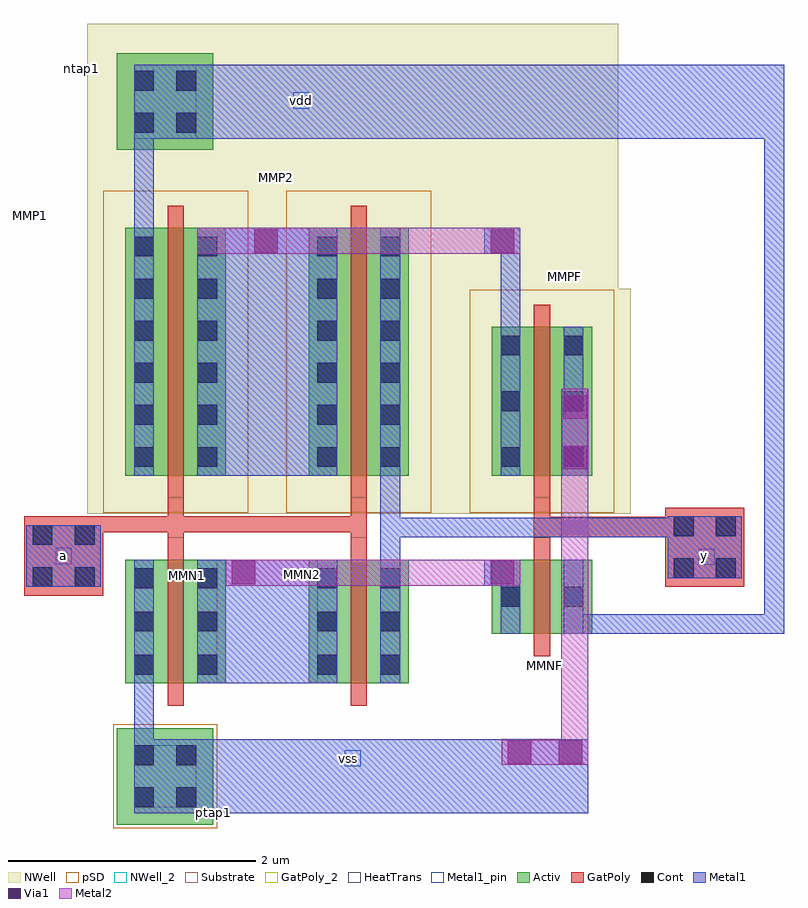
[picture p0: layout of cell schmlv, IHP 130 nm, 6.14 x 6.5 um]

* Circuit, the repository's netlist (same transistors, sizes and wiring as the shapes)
** sch_path: /foss/designs/Designs/bidir-level-shifter/xschem/logic_gates/SCHMLV.sch
.subckt SCHMLV a y vdd vss
*.PININFO vdd:B vss:B y:B a:B
MMP1 net1 a vdd vdd sg13_lv_pmos w=2.0u l=0.13u ng=1
MMP2 y a net1 vdd sg13_lv_pmos w=2.0u l=0.13u ng=1
MMN2 y a net2 vss sg13_lv_nmos w=1.0u l=0.13u ng=1
MMN1 net2 a vss vss sg13_lv_nmos w=1.0u l=0.13u ng=1
MMPF vss y net1 vdd sg13_lv_pmos w=1.2u l=0.13u ng=1
MMNF vdd y net2 vss sg13_lv_nmos w=0.6u l=0.13u ng=1
.ends

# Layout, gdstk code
import gdstk
lib = gdstk.Library(unit=1e-6, precision=1e-09)
def R(c, l, rs):  # rectangles x0, y0, x1, y1
    for r in rs: c.add(gdstk.rectangle(r[:2], r[2:], *l))
def A(c, l, x, y, w, h, nx, ny, dx, dy):  # array of equal rectangles
    R(c, l, [(x+i*dx, y+j*dy, x+i*dx+w, y+j*dy+h) for i in range(nx) for j in range(ny)])
Activ = (1, 0)
GatPoly = (5, 0)
GatPoly_2 = (5, 2)
Cont = (6, 0)
Metal1 = (8, 0)
Metal1_pin = (8, 2)
Metal2 = (10, 0)
pSD = (14, 0)
Via1 = (19, 0)
NWell = (31, 0)
NWell_2 = (31, 2)
Substrate = (40, 0)
HeatTrans = (51, 0)

nmos = lib.new_cell('nmos')
R(nmos, Activ, [(0,0,0.3,0.3), (0,0,0.81,1), (0.51,0,0.81,0.3)])
R(nmos, GatPoly, [(0.34,-0.18,0.47,1.18)])
R(nmos, GatPoly_2, [(0.34,-0.18,0.47,1.18)])
A(nmos, Cont, 0.07, 0.07, 0.16, 0.16, 1, 3, 0, 0.35)
A(nmos, Cont, 0.58, 0.07, 0.16, 0.16, 1, 3, 0, 0.35)
R(nmos, Metal1, [(0.07,0,0.23,1), (0.58,0,0.74,1)])
R(nmos, Metal1_pin, [(0.07,0,0.23,1), (0.58,0,0.74,1)])
R(nmos, HeatTrans, [(0.34,-0.18,0.47,1.18)])
nmos.add(gdstk.Label('nmos', (0.405,0.5), layer=63, texttype=0))
nmos.add(gdstk.Label('nmos', (0.405,0.5), layer=51, texttype=0))

nmos_1 = lib.new_cell('nmos$1')
R(nmos_1, Activ, [(0,0,0.3,0.3), (0,0,0.81,0.6), (0.51,0,0.81,0.3)])
R(nmos_1, GatPoly, [(0.34,-0.18,0.47,0.78)])
R(nmos_1, GatPoly_2, [(0.34,-0.18,0.47,0.78)])
R(nmos_1, Cont, [(0.07,0.22,0.23,0.38), (0.58,0.22,0.74,0.38)])
R(nmos_1, Metal1, [(0.07,0,0.23,0.6), (0.58,0,0.74,0.6)])
R(nmos_1, Metal1_pin, [(0.07,0,0.23,0.6), (0.58,0,0.74,0.6)])
R(nmos_1, HeatTrans, [(0.34,-0.18,0.47,0.78)])
nmos_1.add(gdstk.Label('nmos', (0.405,0.3), layer=63, texttype=0))
nmos_1.add(gdstk.Label('nmos', (0.405,0.3), layer=51, texttype=0))

pmos = lib.new_cell('pmos')
R(pmos, Activ, [(0,0,0.3,0.3), (0,0,0.81,2), (0.51,0,0.81,0.3)])
R(pmos, GatPoly, [(0.34,-0.18,0.47,2.18), (0.34,-0.18,0.47,2.18)])
A(pmos, Cont, 0.07, 0.07, 0.16, 0.16, 1, 6, 0, 0.34)
A(pmos, Cont, 0.58, 0.07, 0.16, 0.16, 1, 6, 0, 0.34)
R(pmos, Metal1, [(0.07,0,0.23,2), (0.07,0,0.23,2), (0.58,0,0.74,2), (0.58,0,0.74,2)])
R(pmos, pSD, [(-0.18,-0.3,0.99,2.3)])
R(pmos, NWell, [(-0.31,-0.31,1.12,2.31)])
R(pmos, HeatTrans, [(0.34,-0.18,0.47,2.18)])
pmos.add(gdstk.Label('pmos', (0.405,1), layer=63, texttype=0))
pmos.add(gdstk.Label('pmos', (0.405,1), layer=51, texttype=0))

via_stack = lib.new_cell('via_stack')
R(via_stack, GatPoly, [(-0.32,-0.32,0.32,0.32)])
R(via_stack, Cont, [(-0.25,-0.25,-0.09,-0.09), (0.09,-0.25,0.25,-0.09), (-0.25,0.09,-0.09,0.25), (0.09,0.09,0.25,0.25)])
R(via_stack, Metal1, [(-0.3,-0.25,0.3,0.25)])

ntap1 = lib.new_cell('ntap1')
R(ntap1, Activ, [(0,0,0.78,0.78)])
R(ntap1, Cont, [(0.14,0.14,0.3,0.3), (0.48,0.14,0.64,0.3), (0.14,0.48,0.3,0.64), (0.48,0.48,0.64,0.64)])
R(ntap1, Metal1, [(0.14,0.09,0.64,0.69)])
R(ntap1, Metal1_pin, [(0.14,0.09,0.64,0.69), (0.14,0.14,0.64,0.64)])
R(ntap1, NWell, [(-0.24,-0.24,1.02,1.02), (0,0,0.78,0.78)])
R(ntap1, NWell_2, [(0,0,0.78,0.78)])
ntap1.add(gdstk.Label('well', (0.39,0.01), layer=63, texttype=0))
ntap1.add(gdstk.Label('well', (0.39,0.01), layer=31, texttype=0))

ptap1 = lib.new_cell('ptap1')
R(ptap1, Activ, [(0,0,0.78,0.78)])
R(ptap1, Cont, [(0.14,0.14,0.3,0.3), (0.48,0.14,0.64,0.3), (0.14,0.48,0.3,0.64), (0.48,0.48,0.64,0.64)])
R(ptap1, Metal1, [(0.14,0.09,0.64,0.69), (0.14,0.14,0.64,0.64)])
R(ptap1, Metal1_pin, [(0.14,0.14,0.64,0.64)])
R(ptap1, pSD, [(-0.03,-0.03,0.81,0.81)])
R(ptap1, Substrate, [(0,0,0.78,0.78)])
ptap1.add(gdstk.Label('sub!', (0.39,0.01), layer=63, texttype=0))
ptap1.add(gdstk.Label('sub!', (0.39,0.01), layer=40, texttype=0))

via_stack_2 = lib.new_cell('via_stack$2')
R(via_stack_2, Metal1, [(-0.35,-0.105,0.35,0.105)])
R(via_stack_2, Metal2, [(-0.35,-0.1,0.35,0.1)])
R(via_stack_2, Via1, [(-0.3,-0.095,-0.11,0.095), (0.11,-0.095,0.3,0.095)])

via_stack_3 = lib.new_cell('via_stack$3')
R(via_stack_3, Metal1, [(-0.105,-0.35,0.105,0.35)])
R(via_stack_3, Metal2, [(-0.1,-0.35,0.1,0.35)])
R(via_stack_3, Via1, [(-0.095,-0.3,0.095,-0.11), (-0.095,0.11,0.095,0.3)])

pmos_1 = lib.new_cell('pmos$1')
R(pmos_1, Activ, [(0,0,0.3,0.3), (0,0,0.81,1.2), (0.51,0,0.81,0.3)])
R(pmos_1, GatPoly, [(0.34,-0.18,0.47,1.38), (0.34,-0.18,0.47,1.38)])
A(pmos_1, Cont, 0.07, 0.07, 0.16, 0.16, 1, 3, 0, 0.45)
A(pmos_1, Cont, 0.58, 0.07, 0.16, 0.16, 1, 3, 0, 0.45)
R(pmos_1, Metal1, [(0.07,0,0.23,1.2), (0.07,0,0.23,1.2), (0.58,0,0.74,1.2), (0.58,0,0.74,1.2)])
R(pmos_1, pSD, [(-0.18,-0.3,0.99,1.5)])
R(pmos_1, NWell, [(-0.31,-0.31,1.12,1.51)])
R(pmos_1, HeatTrans, [(0.34,-0.18,0.47,1.38)])
pmos_1.add(gdstk.Label('pmos', (0.405,0.6), layer=63, texttype=0))
pmos_1.add(gdstk.Label('pmos', (0.405,0.6), layer=51, texttype=0))

schmlv = lib.new_cell('schmlv')
A(schmlv, GatPoly, 1.36, 2.58, 0.13, 0.32, 3, 1, 1.48, 0)
R(schmlv, GatPoly, [(4.45,2.58,5.38,2.745), (0.84,2.62,2.84,2.75)])
R(schmlv, Metal1, [(1.59,0.35,4.76,0.95), (1.09,0.95,1.25,1.4), (1.76,1.4,2.57,2.4), (4.72,1.8,6.34,1.96), (6.18,1.8,6.34,6.4), (1.83,2.19,2.12,2.4), (3.92,2.19,4.21,2.4), (3.08,2.4,3.24,3.08), (3.24,2.58,5.4,2.74), (1.76,3.08,2.57,5.08), (4.05,4.28,4.21,5.08), (2.01,4.87,2.3,5.08), (3.92,4.87,4.21,5.08), (1.09,5.08,1.25,5.8), (1.59,5.8,6.34,6.4)])
R(schmlv, Metal1_pin, [(2.79,0.73,2.92,0.86), (5.65,2.36,5.78,2.49), (0.455,2.365,0.585,2.495), (2.375,6.045,2.505,6.175)])
R(schmlv, Metal2, [(4.54,0.745,4.76,3.78), (1.83,2.19,4.21,2.4), (1.83,2.195,2.12,2.395), (3.92,2.195,4.21,2.395), (1.6,4.87,4.21,5.08), (2.01,4.875,2.3,5.075), (3.92,4.875,4.21,5.075)])
R(schmlv, Via1, [(1.88,2.2,2.07,2.39), (3.97,2.2,4.16,2.39), (2.06,4.88,2.25,5.07), (3.97,4.88,4.16,5.07)])
R(schmlv, NWell, [(0.71,2.77,5,6.73)])
schmlv.add(gdstk.Reference(nmos, (1.02,1.4)))
schmlv.add(gdstk.Reference(nmos_1, (3.98,1.8)))
schmlv.add(gdstk.Reference(pmos, (2.5,3.08)))
schmlv.add(gdstk.Reference(pmos, (1.02,3.08)))
schmlv.add(gdstk.Reference(via_stack, (0.52,2.43)))
schmlv.add(gdstk.Reference(ntap1, (0.95,5.71)))
schmlv.add(gdstk.Reference(ptap1, (0.95,0.26)))
schmlv.add(gdstk.Reference(via_stack_2, (4.41,0.845)))
schmlv.add(gdstk.Reference(via_stack_3, (4.65,3.43)))
schmlv.add(gdstk.Reference(pmos_1, (3.98,3.08)))
schmlv.add(gdstk.Reference(nmos, (2.5,1.4)))
schmlv.add(gdstk.Reference(via_stack, (5.7,2.5)))
schmlv.add(gdstk.Label('MMN1', (1.52,2.27), layer=63, texttype=0))
schmlv.add(gdstk.Label('MMN2', (2.451,2.281), layer=63, texttype=0))
schmlv.add(gdstk.Label('MMP1', (0.253,5.183), layer=63, texttype=0))
schmlv.add(gdstk.Label('MMNF', (4.408,1.548), layer=63, texttype=0))
schmlv.add(gdstk.Label('MMP2', (2.237,5.487), layer=63, texttype=0))
schmlv.add(gdstk.Label('ptap1', (1.734,0.354), layer=63, texttype=0))
schmlv.add(gdstk.Label('ntap1', (0.661,6.371), layer=63, texttype=0))
schmlv.add(gdstk.Label('MMPF', (4.57,4.69), layer=63, texttype=0))
schmlv.add(gdstk.Label('vss', (2.825,0.795), layer=8, texttype=25))
schmlv.add(gdstk.Label('vdd', (2.44,6.11), layer=8, texttype=25))
schmlv.add(gdstk.Label('a', (0.52,2.43), layer=8, texttype=25))
schmlv.add(gdstk.Label('y', (5.7,2.43), layer=8, texttype=25))

lib.write_gds('schmlv.gds')
